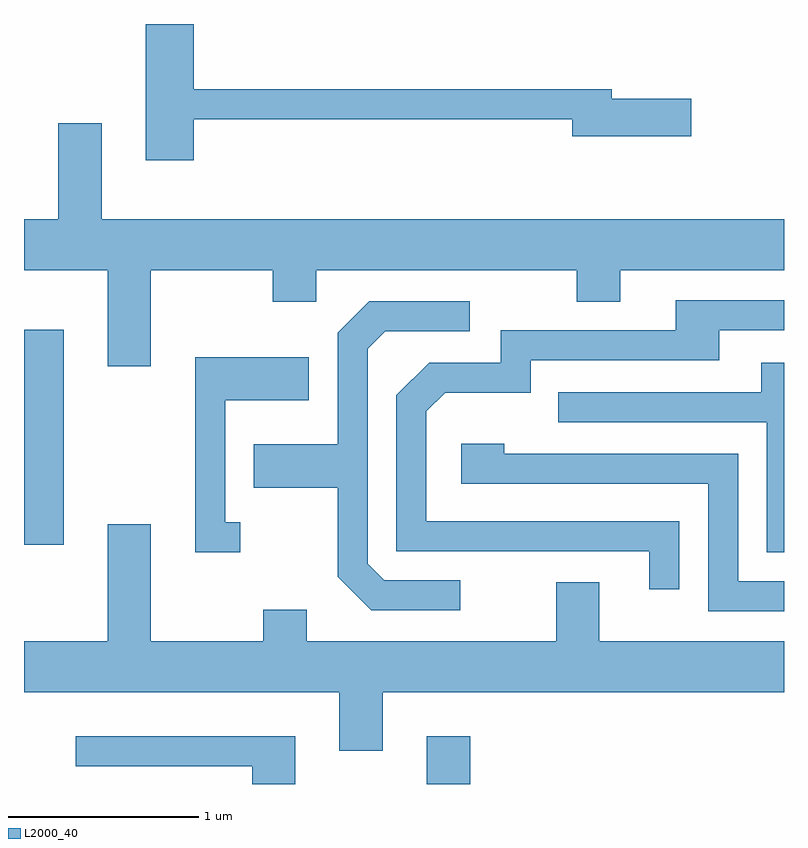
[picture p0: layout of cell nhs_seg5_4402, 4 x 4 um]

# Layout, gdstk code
import gdstk
lib = gdstk.Library(unit=1e-6, precision=1e-09)
def R(c, l, rs):  # rectangles x0, y0, x1, y1
    for r in rs: c.add(gdstk.rectangle(r[:2], r[2:], *l))
def P(c, l, *ps):  # polygons
    for p in ps: c.add(gdstk.Polygon(p, *l))
L2000_40 = (2000, 40)

nhs_seg5_4402 = lib.new_cell('nhs_seg5_4402')
R(nhs_seg5_4402, L2000_40, [(317.731,1474.072,317.959,1474.324), (315.611,1475.331,315.819,1476.464)])
P(nhs_seg5_4402, L2000_40, [(316.504,1477.571),(318.496,1477.571),(318.496,1477.481),(319.124,1477.481),(319.124,1477.679),(318.704,1477.679),(318.704,1477.729),(316.504,1477.729),(316.504,1478.072),(316.251,1478.072),(316.251,1477.356),(316.504,1477.356)],
  [(316.279,1476.776),(316.921,1476.776),(316.921,1476.611),(317.149,1476.611),(317.149,1476.776),(318.521,1476.776),(318.521,1476.611),(318.749,1476.611),(318.749,1476.776),(319.611,1476.776),(319.611,1477.044),(316.019,1477.044),(316.019,1477.549),(315.791,1477.549),(315.791,1477.044),(315.611,1477.044),(315.611,1476.776),(316.051,1476.776),(316.051,1476.271),(316.279,1476.271)],
  [(319.059,1475.454),(317.729,1475.454),(317.729,1476.034),(317.827,1476.131),(318.279,1476.131),(318.279,1476.301),(319.269,1476.301),(319.269,1476.461),(319.611,1476.461),(319.611,1476.619),(319.041,1476.619),(319.041,1476.459),(318.121,1476.459),(318.121,1476.289),(317.744,1476.289),(317.571,1476.117),(317.571,1475.296),(318.901,1475.296),(318.901,1475.098),(319.059,1475.098)],
  [(317.908,1475.144),(317.507,1475.144),(317.419,1475.232),(317.419,1476.364),(317.512,1476.456),(317.958,1476.456),(317.958,1476.614),(317.429,1476.614),(317.261,1476.447),(317.261,1475.859),(316.821,1475.859),(316.821,1475.631),(317.261,1475.631),(317.261,1475.164),(317.439,1474.986),(317.908,1474.986)],
  [(316.748,1475.449),(316.669,1475.449),(316.669,1476.091),(317.109,1476.091),(317.109,1476.319),(316.511,1476.319),(316.511,1475.291),(316.748,1475.291)],
  [(319.611,1476.289),(319.491,1476.289),(319.491,1476.134),(318.423,1476.134),(318.423,1475.976),(319.521,1475.976),(319.521,1475.291),(319.611,1475.291)],
  [(319.611,1475.139),(319.369,1475.139),(319.369,1475.809),(318.139,1475.809),(318.139,1475.864),(317.911,1475.864),(317.911,1475.651),(319.211,1475.651),(319.211,1474.981),(319.611,1474.981)],
  [(317.499,1474.556),(319.611,1474.556),(319.611,1474.824),(318.639,1474.824),(318.639,1475.134),(318.411,1475.134),(318.411,1474.824),(317.099,1474.824),(317.099,1474.989),(316.871,1474.989),(316.871,1474.824),(316.279,1474.824),(316.279,1475.439),(316.051,1475.439),(316.051,1474.824),(315.611,1474.824),(315.611,1474.556),(317.271,1474.556),(317.271,1474.246),(317.499,1474.246)],
  [(317.039,1474.324),(315.883,1474.324),(315.883,1474.166),(316.811,1474.166),(316.811,1474.072),(317.039,1474.072)])

lib.write_gds('nhs_seg5_4402.gds')
